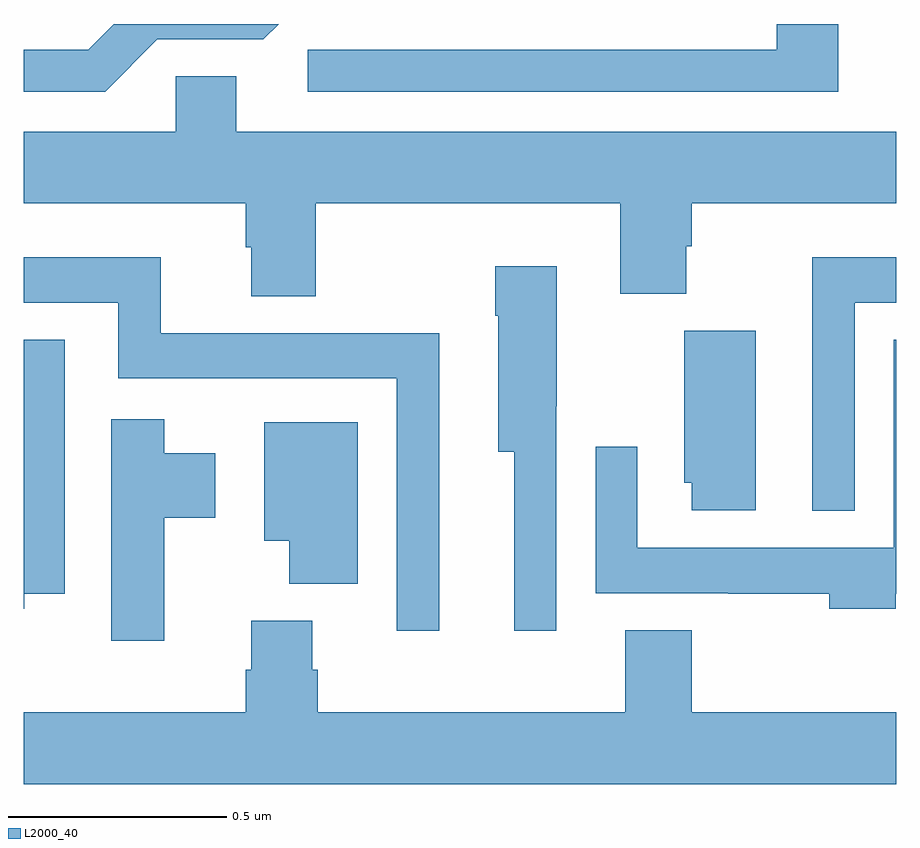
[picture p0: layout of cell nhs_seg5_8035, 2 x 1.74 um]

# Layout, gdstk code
import gdstk
lib = gdstk.Library(unit=1e-6, precision=1e-09)
def P(c, l, *ps):  # polygons
    for p in ps: c.add(gdstk.Polygon(p, *l))
L2000_40 = (2000, 40)

nhs_seg5_8035 = lib.new_cell('nhs_seg5_8035')
P(nhs_seg5_8035, L2000_40, [(217.867,895.799),(217.727,895.799),(217.727,895.74),(216.651,895.74),(216.651,895.644),(217.867,895.644)],
  [(216.306,895.764),(216.549,895.764),(216.584,895.799),(216.206,895.799),(216.147,895.74),(216,895.74),(216,895.644),(216.186,895.644)],
  [(216.487,895.679),(216.348,895.679),(216.348,895.552),(216,895.552),(216,895.388),(216.509,895.388),(216.509,895.287),(216.521,895.287),(216.521,895.175),(216.669,895.175),(216.669,895.388),(217.367,895.388),(217.367,895.18),(217.519,895.18),(217.519,895.289),(217.532,895.289),(217.532,895.388),(218,895.388),(218,895.552),(216.487,895.552)],
  [(217.905,895.16),(218,895.16),(218,895.264),(217.808,895.264),(217.808,894.683),(217.905,894.683)],
  [(216.952,895.09),(216.314,895.09),(216.314,895.264),(216,895.264),(216,895.16),(216.216,895.16),(216.216,894.986),(216.855,894.986),(216.855,894.408),(216.952,894.408)],
  [(217.221,894.922),(217.222,894.922),(217.222,895.243),(217.081,895.243),(217.081,895.13),(217.088,895.13),(217.088,894.818),(217.124,894.818),(217.124,894.408),(217.221,894.408)],
  [(217.678,895.095),(217.514,895.095),(217.514,894.747),(217.532,894.747),(217.532,894.684),(217.678,894.684)],
  [(216.001,894.492),(216.093,894.492),(216.093,895.075),(216,895.075),(216,894.458),(216.001,894.458)],
  [(217.999,894.492),(218,894.492),(218,895.075),(217.995,895.075),(217.995,894.598),(217.407,894.598),(217.407,894.829),(217.311,894.829),(217.311,894.494),(217.615,894.494),(217.615,894.492),(217.847,894.492),(217.847,894.458),(217.999,894.458)],
  [(216.322,894.667),(216.439,894.667),(216.439,894.814),(216.322,894.814),(216.322,894.892),(216.2,894.892),(216.2,894.384),(216.322,894.384)],
  [(216.766,894.886),(216.551,894.886),(216.551,894.614),(216.608,894.614),(216.608,894.515),(216.766,894.515)],
  [(218,894.22),(217.532,894.22),(217.532,894.409),(217.379,894.409),(217.379,894.22),(216.674,894.22),(216.674,894.318),(216.661,894.318),(216.661,894.43),(216.521,894.43),(216.521,894.318),(216.509,894.318),(216.509,894.22),(216,894.22),(216,894.056),(218,894.056)])

lib.write_gds('nhs_seg5_8035.gds')
